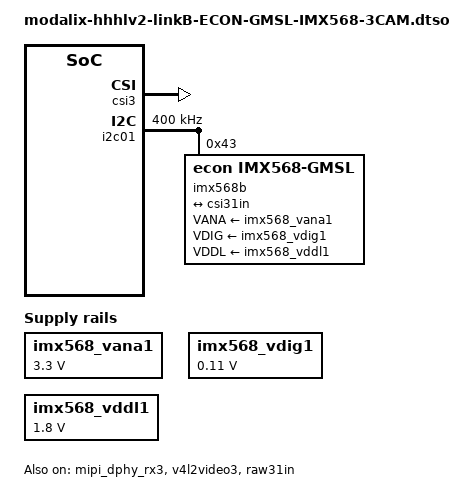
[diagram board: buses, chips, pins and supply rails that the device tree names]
// SPDX-License-Identifier: (GPL-2.0+ OR MIT)
/*
 * Copyright (c) 2026 SiMa ai
 *
 * Second camera on the shared MAX96716A deserializer (GMSL link B,
 * Pipe Z) - companion to modalix-hhhlv2-linkA-ECON-GMSL-IMX568-3CAM.dtso.
 * Both overlays wire to the same physical csi3 controller, but to
 * VC1's sink port (csi31in) instead of VC0's (csi30in), matching Pipe
 * Z's VC1 remap in the deserializer config.
 *
 * reg = <0x43> is the address this camera's MCU answers on from the
 * SoC's side. Both modules are identical and natively answer at 0x42;
 * SER2_I2C_CONF (econ_imx568_serdes.h) programs the MAX9295A's
 * downstream-device translator with SRC_B=0x43 -> DST_B=0x42, so the
 * module keeps 0x42 on its own local bus and does not collide with
 * linkA's imx568@42 when both overlays load together.
 *
 * csi3/axi_vdma3/mipi_dphy_rx3/v4l2video3/v4l2vdma3 status=okay is
 * repeated here even though linkA's overlay already enables them -
 * harmless when both load together (idempotent), and kept so this
 * overlay is self-sufficient if ever tested alone.
 */

/dts-v1/;
/plugin/;

&{/} {
    imx568_clk1: imx568_clk1 {
        status = "okay";
        compatible = "fixed-clock";
        #clock-cells = <0>;
        clock-frequency = <37125000>;
    };

    imx568_vana1: vana1 {
        compatible = "regulator-fixed";
        regulator-name = "imx568_vana1";
        regulator-min-microvolt = <3300000>;
        regulator-max-microvolt = <3300000>;
        enable-active-high;
        startup-delay-us = <300000>;
        regulator-always-on;
    };

    imx568_vdig1: vdig1 {
        compatible = "regulator-fixed";
        regulator-name = "imx568_vdig1";
        regulator-min-microvolt = <110000>;
        regulator-max-microvolt = <110000>;
        regulator-always-on;
    };

    imx568_vddl1: vddl1 {
        compatible = "regulator-fixed";
        regulator-name = "vddl1";
        regulator-min-microvolt = <1800000>;
        regulator-max-microvolt = <1800000>;
        regulator-always-on;
    };
};

&csi3 {
    status = "okay";
};

&axi_vdma3 {
    status = "okay";
};

&mipi_dphy_rx3 {
    status = "okay";
};

&v4l2video3 {
    status = "okay";
};

&v4l2vdma3 {
    status = "okay";
};

/* VC1's video capture node. Disabled by default in modalix-mipi.dtsi
 * (only VC0's raw30in is enabled there), so it must be turned on
 * explicitly or the VC1 stream has nowhere to land. */
&raw31in {
    status = "okay";
};

/* VC1's sink port on csi3 - port@2/reg=2, same VC-numbering convention
 * as csi2's csi20in/csi21in/csi22in/csi23in. Must match both the VC the
 * deserializer stamps (DSER_PIPE_Z_CONF's MAP_DST_* bytes) and the
 * sima,virtual-channel property on the camera endpoint below. */
&csi31in{
    clock-lanes = <0>;
    data-lanes = <1 2 3 4>;
    link-frequencies = /bits/ 64 <594000000>;
    remote-endpoint = <&cam31out>;
    clock-continuous;
};

&i2c01 {
    status = "okay";
    clock-frequency = <400000>;
    #address-cells = <1>;
    #size-cells = <0>;

    imx568b: imx568@43 {
        compatible = "econ,imx568-gmsl";
        /* translated address - see file header */
        reg = <0x43>;
        clocks = <&imx568_clk1>;
        clock-names = "xclk";
        VANA-supply = <&imx568_vana1>;
        VDIG-supply = <&imx568_vdig1>;
        VDDL-supply = <&imx568_vddl1>;
        camera_mipi_lanes = <2>;
        cam_fw_name = "imx568_cam_fw_gmsl.bin";
        port@1 {
            reg = <1>;
            cam31out: endpoint@0 {
                reg = <0>;
                clock-lanes = <0>;
                data-lanes = <1 2 3 4>;
                link-frequencies = /bits/ 64 <594000000>;
                remote-endpoint = <&csi31in>;
                clock-continuous;
                /*
                 * VC the deserializer stamps on this camera's packets
                 * (DSER_PIPE_Z_CONF MAP_DST_*). The driver reports it
                 * via .get_frame_desc and dwc-mipi-csi2 programs the
                 * IPI VCID filter from it.
                 */
                sima,virtual-channel = <1>;
            };
        };
    };
};
